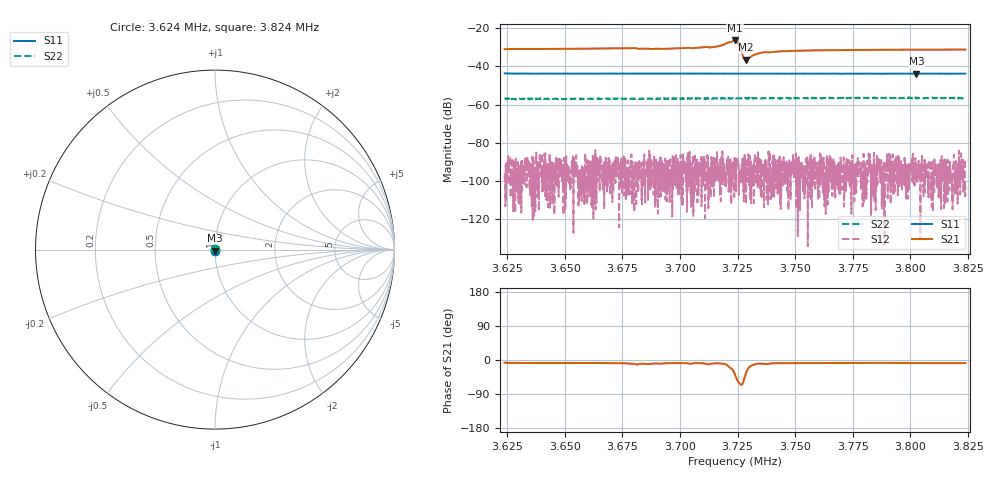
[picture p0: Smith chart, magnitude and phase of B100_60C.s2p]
# Hz S dB R 50.000
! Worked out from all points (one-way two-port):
!   6401 points, 3.624 MHz to 3.824 MHz, reference 50 ohm
!   highest |S21| = -26.34 dB at 3.724 MHz (marker M1); lowest = -36.4 dB at 3.728 MHz (marker M2)
!   lowest |S11| = -43.9 dB at 3.803 MHz (marker M3), VSWR 1.01, Z = 50 - j0.639 ohm
!   |S11| at or under -10 dB: start of sweep to end of sweep
!   |S22| runs from -57.4 to -56.2 dB; largest |S21 - S12| = 0.048
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3623906  -43.64 -93.2  -30.95 -7.4  -96.64 124.1  -56.95 72.4
3657250  -43.73 -93.0  -30.71 -8.0  -107.37 -43.0  -56.86 72.8
3679968  -43.73 -92.9  -30.35 -9.9  -93.62 137.3  -56.95 73.5
3682500  -43.75 -93.0  -30.73 -10.3  -90.62 48.0  -56.91 73.2
3690594  -43.72 -93.0  -30.65 -9.4  -104.93 22.9  -56.84 73.0
3705781  -43.71 -93.1  -30.38 -8.5  -104.64 55.2  -56.68 74.1
3711125  -43.73 -93.0  -29.71 -9.7  -96.17 96.8  -56.81 73.7
3713812  -43.73 -93.0  -29.94 -9.6  -97.47 22.9  -56.88 73.7
3717625  -43.73 -93.2  -29.08 -9.2  -98.34 97.7  -56.82 73.2
3723031  -43.74 -93.0  -26.63 -27.4  -92.93 74.7  -56.67 74.5
3723906  -43.70 -93.0  -26.34 -38.5  -90.47 -14.9  -56.57 73.3
3724594  -43.75 -93.1  -27.04 -49.5  -90.45 6.1  -56.74 73.4
3725250  -43.76 -93.1  -28.37 -57.0  -91.46 36.7  -56.66 74.3
3727562  -43.75 -93.2  -35.23 -57.0  -100.76 -71.4  -56.60 73.9
3728468  -43.78 -92.9  -36.40 -38.4  -90.61 2.2  -56.61 73.4
3729250  -43.74 -93.1  -36.03 -26.3  -91.18 -3.9  -56.92 73.8
3732687  -43.74 -93.1  -33.73 -11.0  -94.13 12.3  -56.54 73.8
3736312  -43.74 -93.1  -32.55 -9.8  -95.43 109.9  -56.67 75.3
3757250  -43.76 -93.1  -31.57 -8.0  -96.34 -7.4  -56.58 73.8
3790594  -43.74 -93.7  -31.29 -7.9  -88.04 42.3  -56.35 73.4
3802656  -43.86 -94.0  -31.17 -8.2  -91.29 37.6  -56.57 73.4
3823906  -43.77 -93.4  -31.11 -8.2  -103.53 -38.3  -56.54 73.2
